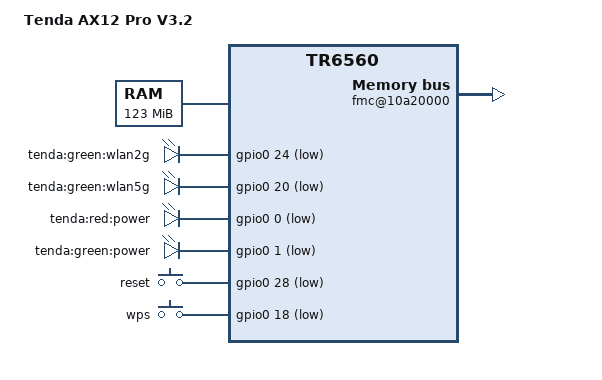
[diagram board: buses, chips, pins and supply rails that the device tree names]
/*
 * Device Tree for Tenda AX12 Pro V3.2 (Triductor TR6560 + TR5220)
 *
 * Preserves factory calibration partition at 0xd0000 (256 KB)
 */

#include <dt-bindings/gpio/gpio.h>
#include <dt-bindings/input/input.h>
#include <dt-bindings/phy/phy.h>
#include <dt-bindings/interrupt-controller/irq.h>
#include <dt-bindings/interrupt-controller/arm-gic.h>

#include "triductor-tr6560.dtsi"

/ {
	model = "Tenda AX12 Pro V3.2";
	compatible = "tenda,ax12pro-v3", "THG6500-TAX2", "triductor,tr6560";

	aliases {
		serial0 = "/uart@0x1010f000";
		serial1 = "/uart@0x1010e000";
	};

	memory {
		device_type = "memory";
		reg = <0x80500000 0x07b00000>;
	};

	/delete-node/ reserved-memory;

	reserved-memory {
		#address-cells = <1>;
		#size-cells = <1>;
		ranges;

		flashinfo@0x80600000 {
			compatible = "hsan,flashinfo_reserved";
			reg = <0x80600000 0x4000>;
			atag-offset = <0x1000>;
		};
	};

	chosen {
		bootargs = "console=ttyS0,115200 earlycon rootfstype=ramfs";
		stdout-path = "serial0:115200n8";
	};

	leds {
		compatible = "gpio-leds";
		wlan_sharegpio = <1>;

		wlan2g {
			label = "tenda:green:wlan2g";
			gpios = <&gpio0 24 GPIO_ACTIVE_LOW>;
			default-state = "off";
		};

		wlan5g {
			label = "tenda:green:wlan5g";
			gpios = <&gpio0 20 GPIO_ACTIVE_LOW>;
			default-state = "off";
		};

		power-red {
			label = "tenda:red:power";
			gpios = <&gpio0 0 GPIO_ACTIVE_LOW>;
			default-state = "off";
		};

		power-green {
			label = "tenda:green:power";
			gpios = <&gpio0 1 GPIO_ACTIVE_LOW>;
			default-state = "off";
		};
	};

	keys {
		compatible = "gpio-keys";

		reset {
			label = "reset";
			linux,code = <KEY_RESTART>;
			gpios = <&gpio0 28 GPIO_ACTIVE_LOW>;
		};

		wps {
			label = "wps";
			linux,code = <KEY_WPS_BUTTON>;
			gpios = <&gpio0 18 GPIO_ACTIVE_LOW>;
		};
	};

	board {
		compatible = "tri,board";
		usb_power = <27>;
		current_limit = <28>;

		tr5220;
		pcie2_0;
		pcie_rstn    = <16>;
		vol_en       = <9>;
		wl_en        = <10>;
		pmu_pwron    = <11>;

		rgmii;
		extphy;
		jtag_sel;
	};

	fmc@10a20000 {
		compatible = "tri,fmc";
		bus_id = "fmc";
		reg = <0x10a20000 0x1000>,
		      <0x1c000000 0x100000>;
		spi_cs = <0x1>;

		partitions {
			compatible = "fixed-partitions";
			#address-cells = <1>;
			#size-cells = <1>;

			/* Boot ROM */
			esbc {
				label = "esbc";
				reg = <0x000000 0x040000>;
				read-only;
			};

			/* U-Boot bootloader */
			uboot {
				label = "uboot";
				reg = <0x040000 0x080000>;
				read-only;
			};

			/* U-Boot environment */
			enva {
				label = "enva";
				reg = <0x0c0000 0x010000>;
			};

			/* Irreplaceable factory Wi-Fi RF calibration */
			equip: factory {
				label = "equip";
				reg = <0x0d0000 0x040000>;
				read-only;
			};

			/* OpenWrt firmware (kernel + rootfs) - ~14.5 MB */
			firmware {
				label = "firmware";
				reg = <0x110000 0x0e88000>;
			};

			/* Tenda config / backup region */
			cfg {
				label = "cfg";
				reg = <0xf98000 0x068000>;
			};
		};
	};
};

&halport0 {
	ports {
		#address-cells = <1>;
		#size-cells = <0>;
		port@0 {
			reg = <0>;
			label = "wan";
			phy-mode = "internal";
			phy-handle = <&phy1>;
		};
		port@1 {
			reg = <1>;
			label = "lan1";
			phy-mode = "internal";
			phy-handle = <&phy2>;
		};
		port@2 {
			reg = <2>;
			label = "lan2";
			phy-mode = "internal";
			phy-handle = <&phy3>;
		};
		port@3 {
			reg = <3>;
			label = "lan3";
			phy-mode = "internal";
			phy-handle = <&phy4>;
		};
		port@4 {
			reg = <4>;
			label = "lan4";
			phy-mode = "internal";
			phy-handle = <&phy5>;
		};
	};
};

/*
 * TR6560 SMP release register.
 *
 * The BSP dtsi sets smp-offset = <0xc08>, but retail 5.10.201 (hsan_smp)
 * writes the secondary-core entry point (secondary_startup phys) to
 * sysctrl + 0xc00 before clearing the CPU1 reset bits in CRG+0x38
 * (bits 23|25) and sending the wakeup IPI.  With 0xc08 the vendor
 * tri_boot_secondary() writes the address to the wrong register and
 * CPU1 times out ("CPU1: failed to come online").
 * Verified against retail: sysctrl+0xc00 = secondary_startup phys
 * (0x80609680 there), table at VA 0xC0C0B440 = {22,24},{23,25}.
 */
&sysctrl {
	smp-offset = <0xc00>;
};
